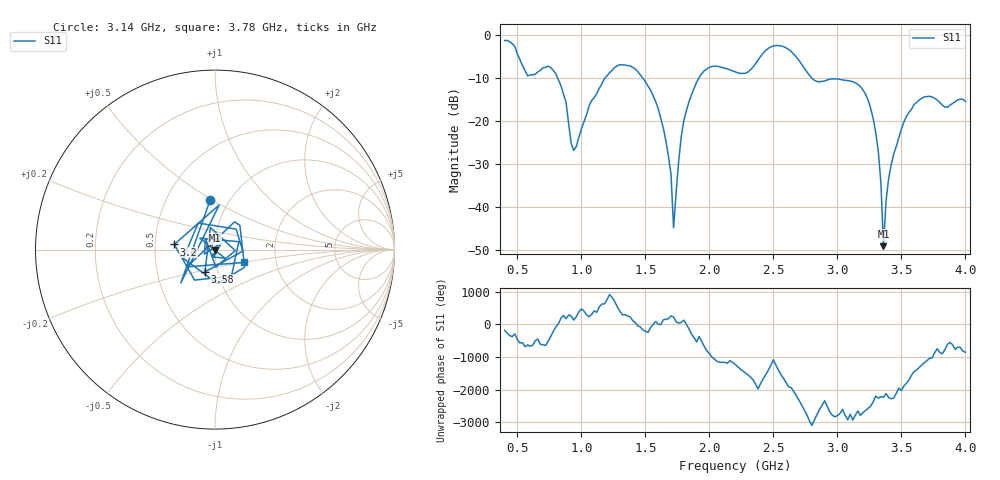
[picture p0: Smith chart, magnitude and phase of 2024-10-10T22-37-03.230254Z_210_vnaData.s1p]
! Created with skrf (http://scikit-rf.org).
# Hz S RI R 50.0
!freq ReS11 ImS11
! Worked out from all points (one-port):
!   181 points, 400 MHz to 4 GHz, reference 50 ohm
!   lowest |S11| = -49.2 dB at 3.36 GHz (marker M1), VSWR 1.01, Z = 50.1 - j0.341 ohm
!   |S11| at or under -10 dB: 813.6 MHz to 1.186 GHz (372.2 MHz wide, 37.2 % of centre); 1.479 GHz to 1.918 GHz (439.3 MHz wide, 25.9 % of centre); 2.798 GHz to end of sweep
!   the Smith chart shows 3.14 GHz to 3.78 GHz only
!   S11 on the Smith chart (normalised r, x): 3.14 GHz: 0.82, +0.49; 3.2 GHz: 0.63, +0.04; 3.58 GHz: 0.87, -0.22; 3.78 GHz: 1.36, -0.20
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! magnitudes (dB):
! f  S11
! 400 MHz  -1.3
! 580 MHz  -9.5
! 760 MHz  -7.6
! 860 MHz  -13.8
! 940 MHz  -26.9
! 1.08 GHz  -15.3
! 1.3 GHz  -6.9
! 1.6 GHz  -17.2
! 1.7 GHz  -32.4
! 1.72 GHz  -44.9
! 1.76 GHz  -29.4
! 1.8 GHz  -19.9
! 1.92 GHz  -9.9
! 2.2 GHz  -8.6
! 2.66 GHz  -4.5
! 2.82 GHz  -10.6
! 3.1 GHz  -10.7
! 3.14 GHz  -11.1
! 3.2 GHz  -12.8
! 3.32 GHz  -27.2
! 3.34 GHz  -34.5
! 3.36 GHz  -49.2
! 3.38 GHz  -38.7
! 3.42 GHz  -30.3
! 3.56 GHz  -18.0
! 3.58 GHz  -17.3
! 3.78 GHz  -15.2
! 4 GHz  -15.5
